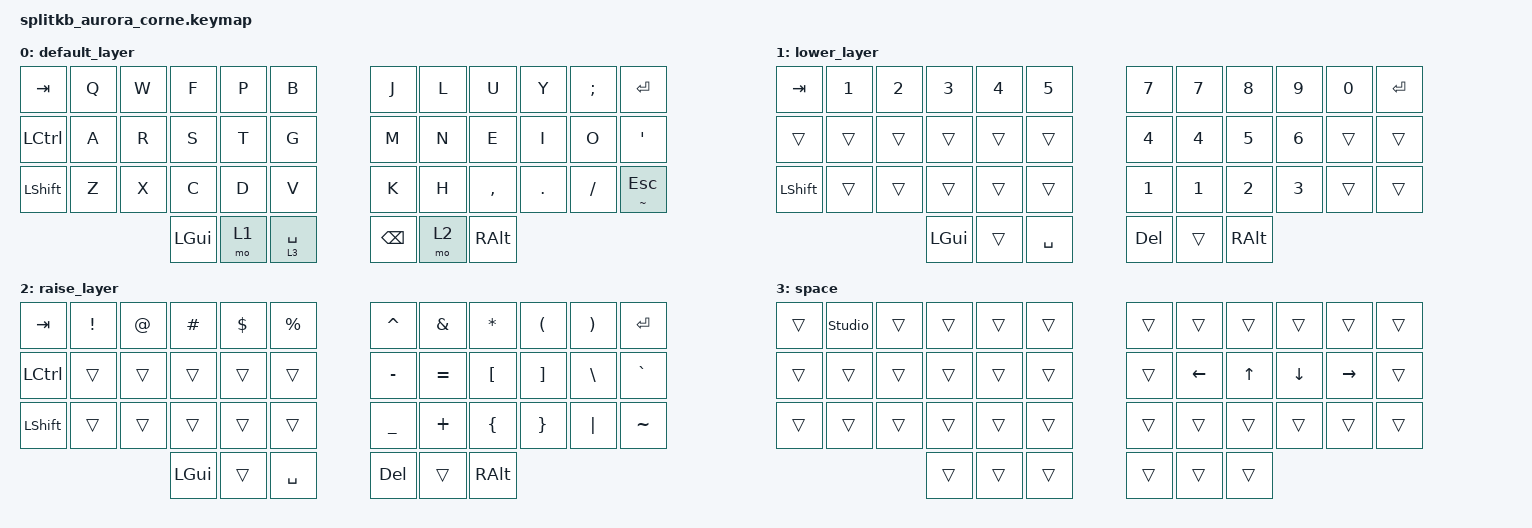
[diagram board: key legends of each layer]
/*
 * Copyright (c) 2020 The ZMK Contributors
 *
 * SPDX-License-Identifier: MIT
 */

#include <behaviors.dtsi>
#include <dt-bindings/zmk/keys.h>

/ {
    keymap {
        compatible = "zmk,keymap";

        default_layer {
            // -----------------------------------------------------------------------------------------
            // |  TAB |  Q  |  W  |  E  |  R  |  T  |   |  Y  |  U   |  I  |  O  |  P  | BKSP |
            // | CTRL |  A  |  S  |  D  |  F  |  G  |   |  H  |  J   |  K  |  L  |  ;  |  '   |
            // | SHFT |  Z  |  X  |  C  |  V  |  B  |   |  N  |  M   |  ,  |  .  |  /  | ESC  |
            //                    | GUI | LWR | SPC |   | ENT | RSE  | ALT |

            bindings = <
&kp TAB    &kp Q  &kp W  &kp F     &kp P  &kp B          &kp J          &kp L  &kp U      &kp Y    &kp SEMICOLON  &kp ENTER
&kp LCTRL  &kp A  &kp R  &kp S     &kp T  &kp G          &kp M          &kp N  &kp E      &kp I    &kp O          &kp SQT
&kp LSHFT  &kp Z  &kp X  &kp C     &kp D  &kp V          &kp K          &kp H  &kp COMMA  &kp DOT  &kp FSLH       &mt TILDE ESCAPE
                         &kp LGUI  &mo 1  &lt 3 SPACE    &kp BACKSPACE  &mo 2  &kp RALT
            >;
        };

        lower_layer {
            // -----------------------------------------------------------------------------------------
            // |  TAB |  1  |  2  |  3  |  4  |  5  |   |  6  |  7  |  8  |  9  |  0  | BKSP |
            // | BTCLR| BT1 | BT2 | BT3 | BT4 | BT5 |   | LFT | DWN |  UP | RGT |     |      |
            // | SHFT |     |     |     |     |     |   |     |     |     |     |     |      |
            //                    | GUI |     | SPC |   | ENT |     | ALT |

            bindings = <
&kp TAB    &kp N1  &kp N2  &kp N3    &kp N4  &kp N5       &kp N7        &kp NUMBER_7  &kp NUMBER_8  &kp NUMBER_9  &kp N0  &kp ENTER
&trans     &trans  &trans  &trans    &trans  &trans       &kp NUMBER_4  &kp NUMBER_4  &kp NUMBER_5  &kp NUMBER_6  &trans  &trans
&kp LSHFT  &trans  &trans  &trans    &trans  &trans       &kp NUMBER_1  &kp NUMBER_1  &kp NUMBER_2  &kp NUMBER_3  &trans  &trans
                           &kp LGUI  &trans  &kp SPACE    &kp DELETE    &trans        &kp RALT
            >;
        };

        raise_layer {
            // -----------------------------------------------------------------------------------------
            // |  TAB |  !  |  @  |  #  |  $  |  %  |   |  ^  |  &  |  *  |  (  |  )  | BKSP |
            // | CTRL |     |     |     |     |     |   |  -  |  =  |  [  |  ]  |  \  |  `   |
            // | SHFT |     |     |     |     |     |   |  _  |  +  |  {  |  }  | "|" |  ~   |
            //                    | GUI |     | SPC |   | ENT |     | ALT |

            bindings = <
&kp TAB    &kp EXCL  &kp AT  &kp HASH  &kp DLLR  &kp PRCNT    &kp CARET   &kp AMPS   &kp ASTRK  &kp LPAR  &kp RPAR  &kp ENTER
&kp LCTRL  &trans    &trans  &trans    &trans    &trans       &kp MINUS   &kp EQUAL  &kp LBKT   &kp RBKT  &kp BSLH  &kp GRAVE
&kp LSHFT  &trans    &trans  &trans    &trans    &trans       &kp UNDER   &kp PLUS   &kp LBRC   &kp RBRC  &kp PIPE  &kp TILDE
                             &kp LGUI  &trans    &kp SPACE    &kp DELETE  &trans     &kp RALT
            >;
        };

        space {
            bindings = <
&trans  &studio_unlock  &trans  &trans  &trans  &trans    &trans  &trans    &trans        &trans    &trans           &trans
&trans  &trans  &trans  &trans  &trans  &trans    &trans  &kp LEFT  &kp UP_ARROW  &kp DOWN  &kp RIGHT_ARROW  &trans
&trans  &trans  &trans  &trans  &trans  &trans    &trans  &trans    &trans        &trans    &trans           &trans
                        &trans  &trans  &trans    &trans  &trans    &trans
            >;
        };
    };
};
